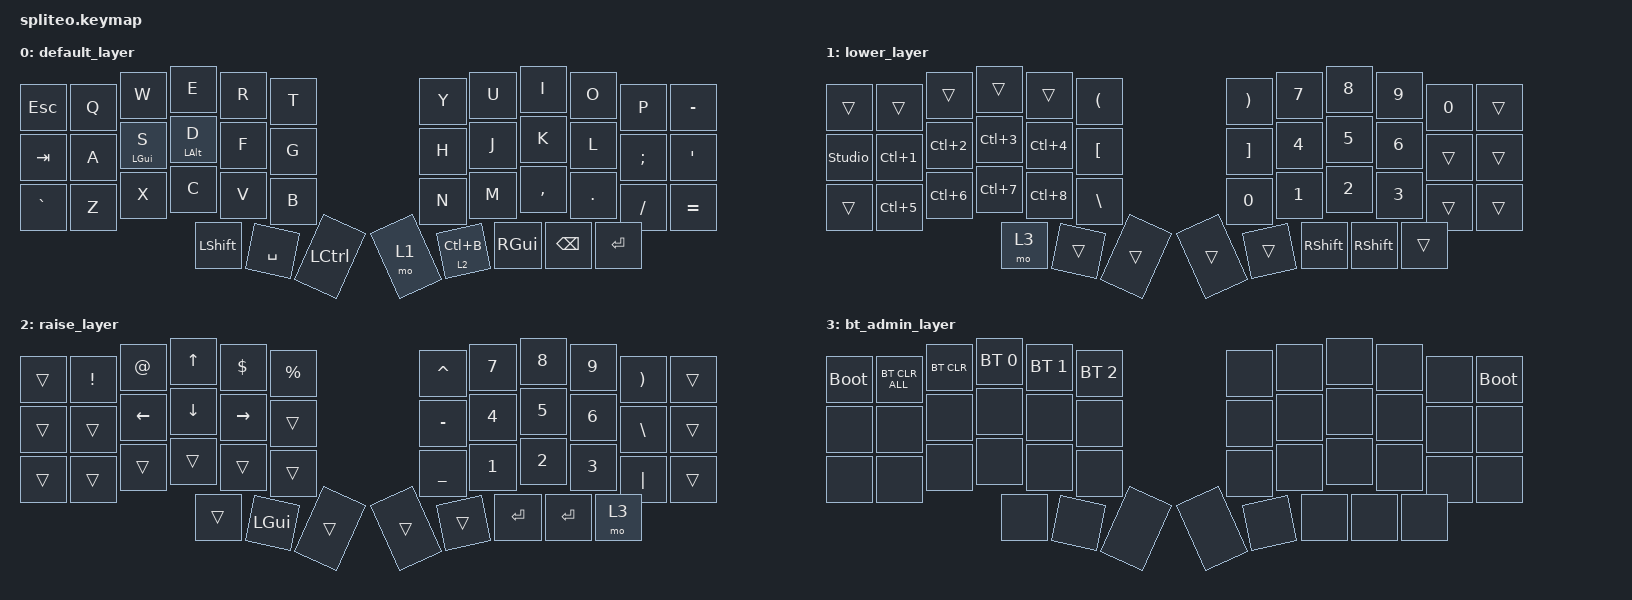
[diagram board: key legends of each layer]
/*
 * Copyright (c) 2025 The ZMK Contributors
 *
 * SPDX-License-Identifier: MIT
 */

#include <behaviors.dtsi>
#include <dt-bindings/zmk/keys.h>
#include <dt-bindings/zmk/bt.h>

&mt {
    tapping-term-ms = <300>; // This is the value already set by default
    flavor = "balanced";
};

/ {
      conditional_layers {
                compatible = "zmk,conditional-layers";

                admin_layer_combo {
                    if-layers = <1 2>;
                    then-layer = <3>;
                };
      };
        keymap {
                compatible = "zmk,keymap";

                default_layer {
                        bindings = <
   &kp ESC    &kp Q &kp W       &kp E       &kp R     &kp T     &kp Y       &kp U     &kp I     &kp O     &kp P    &kp MINUS
   &kp TAB    &kp A &mt LGUI S  &mt LALT D  &kp F     &kp G     &kp H       &kp J     &kp K     &kp L     &kp SEMI &kp SQT
   &kp GRAVE  &kp Z &kp X       &kp C       &kp V     &kp B     &kp N       &kp M     &kp COMMA &kp DOT   &kp FSLH &kp EQUAL
                    &kp LSHFT   &kp SPACE   &kp LCTRL &mo 1     &lt 2 LC(B) &kp RGUI  &kp BSPC  &kp RET
                        >;
                };
                lower_layer {
                        bindings = <
   &trans         &trans     &trans     &trans        &trans        &kp LPAR      &kp RPAR  &kp N7     &kp N8    &kp N9  &kp N0 &trans
   &studio_unlock &kp LC(N1) &kp LC(N2) &kp LC(N3)    &kp LC(N4)    &kp LBKT      &kp RBKT  &kp N4     &kp N5    &kp N6  &trans &trans
   &trans         &kp LC(N5) &kp LC(N6) &kp LC(N7)    &kp LC(N8)    &kp BACKSLASH &kp N0    &kp N1     &kp N2    &kp N3  &trans &trans
                             &mo 3      &trans         &trans        &trans        &trans    &kp RSHFT  &kp RSHFT &trans
                        >;
                };
                raise_layer {
                        bindings = <
   &trans &kp EXCL  &kp AT    &kp UP   &kp DLLR   &kp PRCNT  &kp CARET &kp N7   &kp N8  &kp N9 &kp RPAR &trans
   &trans &trans    &kp LEFT  &kp DOWN &kp RIGHT  &trans     &kp MINUS &kp N4   &kp N5  &kp N6 &kp BSLH &trans
   &trans &trans    &trans    &trans   &trans     &trans     &kp UNDER &kp N1   &kp N2  &kp N3 &kp PIPE &trans
                    &trans    &kp LGUI &trans     &trans     &trans    &kp RET  &kp RET &mo 3
                        >;
                };
                bt_admin_layer {
                        bindings = <
   &bootloader &bt BT_CLR_ALL &bt BT_CLR &bt BT_SEL 0 &bt BT_SEL 1 &bt BT_SEL 2 &none &none &none &none &none &bootloader
   &none       &none          &none      &none        &none        &none        &none &none &none &none &none &none
   &none       &none          &none      &none        &none        &none        &none &none &none &none &none &none
                                      &none        &none        &none        &none        &none &none &none &none
                        >;
                };
        };
};
